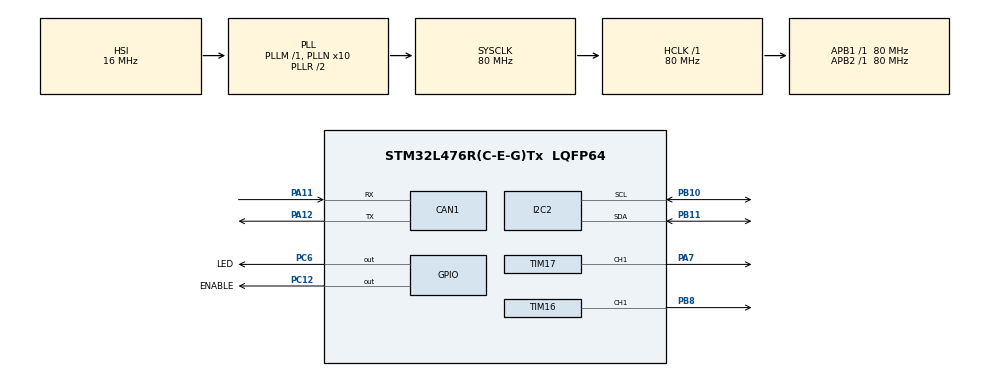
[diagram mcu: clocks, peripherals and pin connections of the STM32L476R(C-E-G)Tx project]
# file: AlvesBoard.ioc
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CAN1.BS1=CAN_BS1_4TQ
CAN1.CalculateTimeQuantum=200.0
Mcu.Family=STM32L4
Mcu.Name=STM32L476R(C-E-G)Tx
Mcu.Package=LQFP64
NVIC.PriorityGroup=NVIC_PRIORITYGROUP_4
NVIC.TIM2_IRQn=true\:0\:0\:false\:false\:true\:true\:true
PA11.Mode=Master
PA11.Signal=CAN1_RX
PA12.Mode=Master
PA12.Signal=CAN1_TX
PA13\ (JTMS-SWDIO).Mode=JTAG_5_pins
PA13\ (JTMS-SWDIO).Signal=SYS_JTMS-SWDIO
PA14\ (JTCK-SWCLK).Mode=JTAG_5_pins
PA14\ (JTCK-SWCLK).Signal=SYS_JTCK-SWCLK
PA15\ (JTDI).Mode=JTAG_5_pins
PA15\ (JTDI).Signal=SYS_JTDI
PA7.Signal=S_TIM17_CH1
PB10.Mode=I2C
PB10.Signal=I2C2_SCL
PB11.Mode=I2C
PB11.Signal=I2C2_SDA
PB3\ (JTDO-TRACESWO).Mode=JTAG_5_pins
PB3\ (JTDO-TRACESWO).Signal=SYS_JTDO-SWO
PB4\ (NJTRST).Mode=JTAG_5_pins
PB4\ (NJTRST).Signal=SYS_JTRST
PB8.Signal=S_TIM16_CH1
PC12.GPIO_Label=ENABLE
PC12.Signal=GPIO_Output
PC14-OSC32_IN\ (PC14).Mode=LSE-External-Oscillator
PC14-OSC32_IN\ (PC14).Signal=RCC_OSC32_IN
PC15-OSC32_OUT\ (PC15).Mode=LSE-External-Oscillator
PC15-OSC32_OUT\ (PC15).Signal=RCC_OSC32_OUT
PC6.GPIO_Label=LED
PC6.Signal=GPIO_Output
ProjectManager.HeapSize=0x200
ProjectManager.StackSize=0x400
ProjectManager.TargetToolchain=STM32CubeIDE
RCC.ADCFreq_Value=64000000
RCC.AHBFreq_Value=80000000
RCC.APB1Freq_Value=80000000
RCC.APB1TimFreq_Value=80000000
RCC.APB2Freq_Value=80000000
RCC.APB2TimFreq_Value=80000000
RCC.CortexFreq_Value=80000000
RCC.HCLKFreq_Value=80000000
RCC.HSE_VALUE=8000000
RCC.HSI_VALUE=16000000
RCC.MSI_VALUE=4000000
RCC.PLLN=10
RCC.PLLSourceVirtual=RCC_PLLSOURCE_HSI
RCC.SYSCLKFreq_VALUE=80000000
RCC.SYSCLKSource=RCC_SYSCLKSOURCE_PLLCLK
RCC.USBFreq_Value=64000000
RCC.VCOOutputFreq_Value=160000000
SH.S_TIM16_CH1.0=TIM16_CH1,PWM Generation1 CH1
SH.S_TIM17_CH1.0=TIM17_CH1,PWM Generation1 CH1
TIM16.Channel=TIM_CHANNEL_1
TIM16.Period=1000
TIM16.Prescaler=40
TIM17.Channel=TIM_CHANNEL_1
TIM17.Period=1000
TIM17.Prescaler=40
TIM2.Period=80
TIM2.Prescaler=40000
VP_TIM16_VS_ClockSourceINT.Mode=Enable_Timer
VP_TIM17_VS_ClockSourceINT.Mode=Enable_Timer
VP_TIM2_VS_ClockSourceINT.Mode=Internal
board=custom

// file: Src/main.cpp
/* USER CODE BEGIN Header */
/**
  ******************************************************************************
  * @file           : main.c
  * @brief          : Main program body
  ******************************************************************************
  * @attention
  *
  * <h2><center>&copy; Copyright (c) 2019 STMicroelectronics.
  * All rights reserved.</center></h2>
  *
  * This software component is licensed by ST under BSD 3-Clause license,
  * the "License"; You may not use this file except in compliance with the
  * License. You may obtain a copy of the License at:
  *                        opensource.org/licenses/BSD-3-Clause
  *
  ******************************************************************************
  */
/* USER CODE END Header */

#include "main.h"

/* USER CODE BEGIN Includes */
#include "Adafruit_BNO055.h"
#include "zenith_can_lib.h"
#include <stdio.h>
/* USER CODE END Includes */

CAN_HandleTypeDef hcan1;

I2C_HandleTypeDef hi2c2;

TIM_HandleTypeDef htim2;
TIM_HandleTypeDef htim16;
TIM_HandleTypeDef htim17;

/* USER CODE BEGIN PV */
Z_CAN_Package can_rx_pkg;
Z_CAN_Package can_tx_pkg;

typedef union _converter4{
	float convert_float;
	uint32_t convert_int;
} Converter4;

Converter4 c;

//VARIAVEIS DE CONTROLE
int estado = 0;

float q0, q1, q2, qx, qy;

float q0_vel = 1.265; //q0_vel = 1.493; // Primeira lenta, segunda rápida. Lembrar de atualizar q1 e q2 se for mudar
float q1_vel = 1.265*(-1.908), q2_vel = 1.265*0.9105;
float qx_vel = -1.872, qy_vel = 0.872;

float q0_pos = 1.741, q1_pos = -1.713, q2_pos = 0;
float qx_pos = -0.949, qy_pos = 0;

float e, e0, e00;
float u, u0, u00;

float Vcc;
float dutyCicle;
float saidaDesejada, saidaAtual;

float T0 = 0.04;
float dir;
float T0_PWM = 1000;

float pos_IMU, pos_IMU_Anterior;
float vel_IMU;

int init_flag = 1;
//CONFIGURACOES DO TIMER PWM
TIM_OC_InitTypeDef configPWM_17 = {0};
TIM_OC_InitTypeDef configPWM_16 = {0};

/* USER CODE END PV */

void SystemClock_Config(void);
static void MX_GPIO_Init(void);
static void MX_CAN1_Init(void);
static void MX_I2C2_Init(void);
static void MX_TIM2_Init(void);
static void MX_TIM16_Init(void);
static void MX_TIM17_Init(void);
/* USER CODE BEGIN PFP */
void HAL_TIM_PeriodElapsedCallback(TIM_HandleTypeDef *htim);
/* USER CODE END PFP */

int main(void)
{

  /* MCU Configuration--------------------------------------------------------*/

  /* Reset of all peripherals, Initializes the Flash interface and the Systick. */
  HAL_Init();

  /* Configure the system clock */
  SystemClock_Config();

  /* Initialize all configured peripherals */
  MX_GPIO_Init();
  MX_CAN1_Init();
  MX_I2C2_Init();
  MX_TIM2_Init();
  MX_TIM16_Init();
  MX_TIM17_Init();
  /* USER CODE BEGIN 2 */
  // Inicialização padrão dos PWMs; para funcionar, falta os starts.
  HAL_TIM_PWM_Init(&htim16);
  HAL_TIM_PWM_Init(&htim17);

  // Inicialização dos timers
  HAL_TIM_Base_Start_IT(&htim2);

  // Configuracao inicial dos timer
  configPWM_16.OCMode = TIM_OCMODE_PWM1;
  configPWM_16.Pulse = 0; // Largura do pulso
  configPWM_16.OCPolarity = TIM_OCPOLARITY_HIGH;
  configPWM_16.OCNPolarity = TIM_OCNPOLARITY_HIGH;
  configPWM_16.OCFastMode = TIM_OCFAST_DISABLE;
  configPWM_16.OCIdleState = TIM_OCIDLESTATE_RESET;
  configPWM_16.OCNIdleState = TIM_OCNIDLESTATE_RESET;

  configPWM_17.OCMode = TIM_OCMODE_PWM1;
  configPWM_17.Pulse = 0; // Largura do pulso
  configPWM_17.OCPolarity = TIM_OCPOLARITY_HIGH;
  configPWM_17.OCNPolarity = TIM_OCNPOLARITY_HIGH;
  configPWM_17.OCFastMode = TIM_OCFAST_DISABLE;
  configPWM_17.OCIdleState = TIM_OCIDLESTATE_RESET;
  configPWM_17.OCNIdleState = TIM_OCNIDLESTATE_RESET;

/*
  double xPos = 0, yPos = 0, headingVel = 0;
  uint16_t BNO055_SAMPLERATE_DELAY_MS = 10; //how often to read data from the board
  uint16_t PRINT_DELAY_MS = 500; // how often to print the data
  uint16_t printCount = 0; //counter to avoid printing every 10MS sample
  double ACCEL_VEL_TRANSITION =  (double)(BNO055_SAMPLERATE_DELAY_MS) / 1000.0;
  double ACCEL_POS_TRANSITION = 0.5 * ACCEL_VEL_TRANSITION * ACCEL_VEL_TRANSITION;
  double DEG_2_RAD = 0.01745329251; //trig functions require radians, BNO055 outputs degrees

  Adafruit_BNO055 bno = Adafruit_BNO055(hi2c2, 55, BNO055_ADDRESS_A);

  bno.begin();
*/
  // Initializing CAN Filter
  filterConfigCAN(&hcan1);
  HAL_CAN_Start(&hcan1);

  //Delay para configurar IMU
  HAL_Delay(5000);

  //Forca dados iniciais para pos_IMU e Vcc
  can_rx_pkg.identifier = 0;
  while(can_rx_pkg.identifier != 2){
	  can_rx_pkg = readCanMessages(&hcan1);
  }

  memcpy(&pos_IMU, can_rx_pkg.data, sizeof(float));
  memcpy(&Vcc, can_rx_pkg.data + sizeof(float), sizeof(float));

  /* USER CODE END 2 */

  /* Infinite loop */
  while (1)
  {

    /* USER CODE BEGIN 3 */

	//Leitura CAN
	can_rx_pkg = readCanMessages(&hcan1);

	if(isEqual(can_rx_pkg, NULL_MSG)){				//Invalid Message
	}
	else if(can_rx_pkg.identifier == 1){

	}
	else if(can_rx_pkg.identifier == 2){
		memcpy(&pos_IMU, can_rx_pkg.data, sizeof(float));
		memcpy(&Vcc, can_rx_pkg.data + sizeof(float), sizeof(float));
	}

	//Para motores
	if(estado == 0) {
		// Stop nos dois PWMs; motor em repouso
		HAL_TIM_PWM_Stop(&htim16,TIM_CHANNEL_1);
		HAL_TIM_PWM_Stop(&htim17,TIM_CHANNEL_1);

		init_flag = 1;
	}

	/*
	  sensors_event_t orientationData , linearAccelData;
	  bno.getEvent(&orientationData, Adafruit_BNO055::VECTOR_EULER);
	  //  bno.getEvent(&angVelData, Adafruit_BNO055::VECTOR_GYROSCOPE);
	  bno.getEvent(&linearAccelData, Adafruit_BNO055::VECTOR_LINEARACCEL);

	  xPos = xPos + ACCEL_POS_TRANSITION * linearAccelData.acceleration.x;
	  yPos = yPos + ACCEL_POS_TRANSITION * linearAccelData.acceleration.y;

	  // velocity of sensor in the direction it's facing
	  headingVel = ACCEL_VEL_TRANSITION * linearAccelData.acceleration.x / cos(DEG_2_RAD * orientationData.orientation.x);
	  HAL_Delay(10);
*/
	  // send CAN message
	  /*
	  c.convert_float = orientationData.orientation.x;
	  can_tx_pkg.data[0] = c.convert_int;
	  c.convert_float = orientationData.orientation.y;
	  can_tx_pkg.data[1] = c.convert_int;
	  c.convert_float = orientationData.orientation.z;
	  can_tx_pkg.data[2] = c.convert_int;
	  c.convert_float = linearAccelData.acceleration.x;
	  can_tx_pkg.data[3] = c.convert_int;
	  c.convert_float = linearAccelData.acceleration.y;
	  can_tx_pkg.data[4] = c.convert_int;
	  c.convert_float = linearAccelData.acceleration.z;
	  can_tx_pkg.data[5] = c.convert_int;
	  can_tx_pkg.data[6] = 0;
	  can_tx_pkg.data[7] = 0;
	  can_tx_pkg.identifier = 0;

	  sendCanMessage(&hcan1, can_tx_pkg);
	  */
  }
  /* USER CODE END 3 */
}

void SystemClock_Config(void)
{
  RCC_OscInitTypeDef RCC_OscInitStruct = {0};
  RCC_ClkInitTypeDef RCC_ClkInitStruct = {0};
  RCC_PeriphCLKInitTypeDef PeriphClkInit = {0};

  /** Initializes the CPU, AHB and APB busses clocks
  */
  RCC_OscInitStruct.OscillatorType = RCC_OSCILLATORTYPE_HSI;
  RCC_OscInitStruct.HSIState = RCC_HSI_ON;
  RCC_OscInitStruct.HSICalibrationValue = RCC_HSICALIBRATION_DEFAULT;
  RCC_OscInitStruct.PLL.PLLState = RCC_PLL_ON;
  RCC_OscInitStruct.PLL.PLLSource = RCC_PLLSOURCE_HSI;
  RCC_OscInitStruct.PLL.PLLM = 1;
  RCC_OscInitStruct.PLL.PLLN = 10;
  RCC_OscInitStruct.PLL.PLLP = RCC_PLLP_DIV7;
  RCC_OscInitStruct.PLL.PLLQ = RCC_PLLQ_DIV2;
  RCC_OscInitStruct.PLL.PLLR = RCC_PLLR_DIV2;
  if (HAL_RCC_OscConfig(&RCC_OscInitStruct) != HAL_OK)
  {
    Error_Handler();
  }
  /** Initializes the CPU, AHB and APB busses clocks
  */
  RCC_ClkInitStruct.ClockType = RCC_CLOCKTYPE_HCLK|RCC_CLOCKTYPE_SYSCLK
                              |RCC_CLOCKTYPE_PCLK1|RCC_CLOCKTYPE_PCLK2;
  RCC_ClkInitStruct.SYSCLKSource = RCC_SYSCLKSOURCE_PLLCLK;
  RCC_ClkInitStruct.AHBCLKDivider = RCC_SYSCLK_DIV1;
  RCC_ClkInitStruct.APB1CLKDivider = RCC_HCLK_DIV1;
  RCC_ClkInitStruct.APB2CLKDivider = RCC_HCLK_DIV1;

  if (HAL_RCC_ClockConfig(&RCC_ClkInitStruct, FLASH_LATENCY_4) != HAL_OK)
  {
    Error_Handler();
  }
  PeriphClkInit.PeriphClockSelection = RCC_PERIPHCLK_I2C2;
  PeriphClkInit.I2c2ClockSelection = RCC_I2C2CLKSOURCE_PCLK1;
  if (HAL_RCCEx_PeriphCLKConfig(&PeriphClkInit) != HAL_OK)
  {
    Error_Handler();
  }
  /** Configure the main internal regulator output voltage
  */
  if (HAL_PWREx_ControlVoltageScaling(PWR_REGULATOR_VOLTAGE_SCALE1) != HAL_OK)
  {
    Error_Handler();
  }
}

static void MX_CAN1_Init(void)
{

  hcan1.Instance = CAN1;
  hcan1.Init.Prescaler = 16;
  hcan1.Init.Mode = CAN_MODE_NORMAL;
  hcan1.Init.SyncJumpWidth = CAN_SJW_1TQ;
  hcan1.Init.TimeSeg1 = CAN_BS1_4TQ;
  hcan1.Init.TimeSeg2 = CAN_BS2_1TQ;
  hcan1.Init.TimeTriggeredMode = DISABLE;
  hcan1.Init.AutoBusOff = DISABLE;
  hcan1.Init.AutoWakeUp = DISABLE;
  hcan1.Init.AutoRetransmission = DISABLE;
  hcan1.Init.ReceiveFifoLocked = DISABLE;
  hcan1.Init.TransmitFifoPriority = DISABLE;
  if (HAL_CAN_Init(&hcan1) != HAL_OK)
  {
    Error_Handler();
  }

}

static void MX_I2C2_Init(void)
{

  hi2c2.Instance = I2C2;
  hi2c2.Init.Timing = 0x10909CEC;
  hi2c2.Init.OwnAddress1 = 0;
  hi2c2.Init.AddressingMode = I2C_ADDRESSINGMODE_7BIT;
  hi2c2.Init.DualAddressMode = I2C_DUALADDRESS_DISABLE;
  hi2c2.Init.OwnAddress2 = 0;
  hi2c2.Init.OwnAddress2Masks = I2C_OA2_NOMASK;
  hi2c2.Init.GeneralCallMode = I2C_GENERALCALL_DISABLE;
  hi2c2.Init.NoStretchMode = I2C_NOSTRETCH_DISABLE;
  if (HAL_I2C_Init(&hi2c2) != HAL_OK)
  {
    Error_Handler();
  }
  /** Configure Analogue filter
  */
  if (HAL_I2CEx_ConfigAnalogFilter(&hi2c2, I2C_ANALOGFILTER_ENABLE) != HAL_OK)
  {
    Error_Handler();
  }
  /** Configure Digital filter
  */
  if (HAL_I2CEx_ConfigDigitalFilter(&hi2c2, 0) != HAL_OK)
  {
    Error_Handler();
  }

}

static void MX_TIM2_Init(void)
{

  TIM_ClockConfigTypeDef sClockSourceConfig = {0};
  TIM_MasterConfigTypeDef sMasterConfig = {0};

  htim2.Instance = TIM2;
  htim2.Init.Prescaler = 40000;
  htim2.Init.CounterMode = TIM_COUNTERMODE_UP;
  htim2.Init.Period = 80;
  htim2.Init.ClockDivision = TIM_CLOCKDIVISION_DIV1;
  htim2.Init.AutoReloadPreload = TIM_AUTORELOAD_PRELOAD_DISABLE;
  if (HAL_TIM_Base_Init(&htim2) != HAL_OK)
  {
    Error_Handler();
  }
  sClockSourceConfig.ClockSource = TIM_CLOCKSOURCE_INTERNAL;
  if (HAL_TIM_ConfigClockSource(&htim2, &sClockSourceConfig) != HAL_OK)
  {
    Error_Handler();
  }
  sMasterConfig.MasterOutputTrigger = TIM_TRGO_RESET;
  sMasterConfig.MasterSlaveMode = TIM_MASTERSLAVEMODE_DISABLE;
  if (HAL_TIMEx_MasterConfigSynchronization(&htim2, &sMasterConfig) != HAL_OK)
  {
    Error_Handler();
  }

}

static void MX_TIM16_Init(void)
{

  TIM_OC_InitTypeDef sConfigOC = {0};
  TIM_BreakDeadTimeConfigTypeDef sBreakDeadTimeConfig = {0};

  htim16.Instance = TIM16;
  htim16.Init.Prescaler = 40;
  htim16.Init.CounterMode = TIM_COUNTERMODE_UP;
  htim16.Init.Period = 1000;
  htim16.Init.ClockDivision = TIM_CLOCKDIVISION_DIV1;
  htim16.Init.RepetitionCounter = 0;
  htim16.Init.AutoReloadPreload = TIM_AUTORELOAD_PRELOAD_DISABLE;
  if (HAL_TIM_Base_Init(&htim16) != HAL_OK)
  {
    Error_Handler();
  }
  if (HAL_TIM_PWM_Init(&htim16) != HAL_OK)
  {
    Error_Handler();
  }
  sConfigOC.OCMode = TIM_OCMODE_PWM1;
  sConfigOC.Pulse = 0;
  sConfigOC.OCPolarity = TIM_OCPOLARITY_HIGH;
  sConfigOC.OCNPolarity = TIM_OCNPOLARITY_HIGH;
  sConfigOC.OCFastMode = TIM_OCFAST_DISABLE;
  sConfigOC.OCIdleState = TIM_OCIDLESTATE_RESET;
  sConfigOC.OCNIdleState = TIM_OCNIDLESTATE_RESET;
  if (HAL_TIM_PWM_ConfigChannel(&htim16, &sConfigOC, TIM_CHANNEL_1) != HAL_OK)
  {
    Error_Handler();
  }
  sBreakDeadTimeConfig.OffStateRunMode = TIM_OSSR_DISABLE;
  sBreakDeadTimeConfig.OffStateIDLEMode = TIM_OSSI_DISABLE;
  sBreakDeadTimeConfig.LockLevel = TIM_LOCKLEVEL_OFF;
  sBreakDeadTimeConfig.DeadTime = 0;
  sBreakDeadTimeConfig.BreakState = TIM_BREAK_DISABLE;
  sBreakDeadTimeConfig.BreakPolarity = TIM_BREAKPOLARITY_HIGH;
  sBreakDeadTimeConfig.AutomaticOutput = TIM_AUTOMATICOUTPUT_DISABLE;
  if (HAL_TIMEx_ConfigBreakDeadTime(&htim16, &sBreakDeadTimeConfig) != HAL_OK)
  {
    Error_Handler();
  }
  HAL_TIM_MspPostInit(&htim16);

}

static void MX_TIM17_Init(void)
{

  TIM_OC_InitTypeDef sConfigOC = {0};
  TIM_BreakDeadTimeConfigTypeDef sBreakDeadTimeConfig = {0};

  htim17.Instance = TIM17;
  htim17.Init.Prescaler = 40;
  htim17.Init.CounterMode = TIM_COUNTERMODE_UP;
  htim17.Init.Period = 1000;
  htim17.Init.ClockDivision = TIM_CLOCKDIVISION_DIV1;
  htim17.Init.RepetitionCounter = 0;
  htim17.Init.AutoReloadPreload = TIM_AUTORELOAD_PRELOAD_DISABLE;
  if (HAL_TIM_Base_Init(&htim17) != HAL_OK)
  {
    Error_Handler();
  }
  if (HAL_TIM_PWM_Init(&htim17) != HAL_OK)
  {
    Error_Handler();
  }
  sConfigOC.OCMode = TIM_OCMODE_PWM1;
  sConfigOC.Pulse = 0;
  sConfigOC.OCPolarity = TIM_OCPOLARITY_HIGH;
  sConfigOC.OCNPolarity = TIM_OCNPOLARITY_HIGH;
  sConfigOC.OCFastMode = TIM_OCFAST_DISABLE;
  sConfigOC.OCIdleState = TIM_OCIDLESTATE_RESET;
  sConfigOC.OCNIdleState = TIM_OCNIDLESTATE_RESET;
  if (HAL_TIM_PWM_ConfigChannel(&htim17, &sConfigOC, TIM_CHANNEL_1) != HAL_OK)
  {
    Error_Handler();
  }
  sBreakDeadTimeConfig.OffStateRunMode = TIM_OSSR_DISABLE;
  sBreakDeadTimeConfig.OffStateIDLEMode = TIM_OSSI_DISABLE;
  sBreakDeadTimeConfig.LockLevel = TIM_LOCKLEVEL_OFF;
  sBreakDeadTimeConfig.DeadTime = 0;
  sBreakDeadTimeConfig.BreakState = TIM_BREAK_DISABLE;
  sBreakDeadTimeConfig.BreakPolarity = TIM_BREAKPOLARITY_HIGH;
  sBreakDeadTimeConfig.AutomaticOutput = TIM_AUTOMATICOUTPUT_DISABLE;
  if (HAL_TIMEx_ConfigBreakDeadTime(&htim17, &sBreakDeadTimeConfig) != HAL_OK)
  {
    Error_Handler();
  }
  HAL_TIM_MspPostInit(&htim17);

}

static void MX_GPIO_Init(void)
{
  GPIO_InitTypeDef GPIO_InitStruct = {0};

  /* GPIO Ports Clock Enable */
  __HAL_RCC_GPIOC_CLK_ENABLE();
  __HAL_RCC_GPIOA_CLK_ENABLE();
  __HAL_RCC_GPIOB_CLK_ENABLE();

  /*Configure GPIO pin Output Level */
  HAL_GPIO_WritePin(GPIOC, LED_Pin|ENABLE_Pin, GPIO_PIN_RESET);

  /*Configure GPIO pins : LED_Pin ENABLE_Pin */
  GPIO_InitStruct.Pin = LED_Pin|ENABLE_Pin;
  GPIO_InitStruct.Mode = GPIO_MODE_OUTPUT_PP;
  GPIO_InitStruct.Pull = GPIO_NOPULL;
  GPIO_InitStruct.Speed = GPIO_SPEED_FREQ_LOW;
  HAL_GPIO_Init(GPIOC, &GPIO_InitStruct);

}

/* USER CODE BEGIN 4 */
void HAL_TIM_PeriodElapsedCallback(TIM_HandleTypeDef *htim) {
	TIM_OC_InitTypeDef configPWM_16 = {0};
	TIM_OC_InitTypeDef configPWM_17 = {0};

	configPWM_16.OCMode = TIM_OCMODE_PWM1;
	configPWM_16.Pulse = 0; // Largura do pulso
	configPWM_16.OCPolarity = TIM_OCPOLARITY_HIGH;
	configPWM_16.OCNPolarity = TIM_OCNPOLARITY_HIGH;
	configPWM_16.OCFastMode = TIM_OCFAST_DISABLE;
	configPWM_16.OCIdleState = TIM_OCIDLESTATE_RESET;
	configPWM_16.OCNIdleState = TIM_OCNIDLESTATE_RESET;

	configPWM_17.OCMode = TIM_OCMODE_PWM1;
	configPWM_17.Pulse = 0; // Largura do pulso
	configPWM_17.OCPolarity = TIM_OCPOLARITY_HIGH;
	configPWM_17.OCNPolarity = TIM_OCNPOLARITY_HIGH;
	configPWM_17.OCFastMode = TIM_OCFAST_DISABLE;
	configPWM_17.OCIdleState = TIM_OCIDLESTATE_RESET;
	configPWM_17.OCNIdleState = TIM_OCNIDLESTATE_RESET;

	if(htim->Instance == TIM2) { // Subrotina de interrupção do timer 2
		// Atualizar ação de controle: lembrar de girar para o sentido oposto

		//Maquina de estados
		if(estado == 0) {
			// Stop nos dois PWMs; motor em repouso
			HAL_TIM_PWM_Stop(&htim16,TIM_CHANNEL_1);
			HAL_TIM_PWM_Stop(&htim17,TIM_CHANNEL_1);

			init_flag = 1;
		}
		if(estado == 1) {
			q0 = q0_vel;
			q1 = q1_vel;
			q2 = q2_vel;
			qx = qx_vel;
			qy = qy_vel;
			saidaDesejada = 0;

			// Atualizacao saida e tratamento inicializacao
			if(init_flag == 1){
				pos_IMU_Anterior = pos_IMU;

				u0 = 0; u00 = 0;
				e0 = 0; e00 = 0;

				init_flag = 0;
			}
			else{
				vel_IMU = (pos_IMU - pos_IMU_Anterior)/T0;
				if(abs(vel_IMU) > 800){
					vel_IMU = ((360-pos_IMU_Anterior) + pos_IMU)/T0;
					pos_IMU_Anterior = pos_IMU;
					return;
				}

				if(vel_IMU > 0){
					dir = 0;
				}
				else{
					dir = 0;
				}
				saidaAtual = vel_IMU;
				pos_IMU_Anterior = pos_IMU;
			}

		}

		if(estado == 2) {
			if(init_flag == 1){
				u0 = 0; u00 = 0;
				e0 = 0; e00 = 0;

				init_flag = 0;
			}

			q0 = q0_pos;
			q1 = q1_pos;
			q2 = 0;
			qx = qx_pos;
			qy = 0;

			saidaAtual = pos_IMU;
			//TODO
			saidaDesejada = 0;//posIni_IMU +;
		}

		if(estado != 0) {
			e = saidaDesejada - saidaAtual;
			u = q0*e+q1*e0+q2*e00 -qx*u0 -qy*u00;

			if(u > Vcc) {
				u = Vcc;
			}

			if(u < -Vcc) {
				u = -Vcc;
			}

			// Atualizar dutycicle
			dutyCicle += 0.01;
			if()
			//dutyCicle = u/Vcc;

			// Atualizar variáveis de memória
			e00 = e0;
			e0 = e;
			u00 = u0;
			u0 = u;

		}

		if(dutyCicle != 0) {
			//dir = 0;
			if(dir == 0) {

				configPWM_16.Pulse = dutyCicle*T0_PWM;
				configPWM_17.Pulse = 0;
				HAL_TIM_PWM_ConfigChannel(&htim16, &configPWM_16, TIM_CHANNEL_1);
				HAL_TIM_PWM_Start(&htim16,TIM_CHANNEL_1);

				HAL_TIM_PWM_Stop(&htim17,TIM_CHANNEL_1);

			}

			if(dir == 1) {

				configPWM_17.Pulse = dutyCicle*T0_PWM;
				configPWM_16.Pulse = 0;
				HAL_TIM_PWM_ConfigChannel(&htim17, &configPWM_17, TIM_CHANNEL_1);
				HAL_TIM_PWM_Start(&htim17,TIM_CHANNEL_1);

				HAL_TIM_PWM_Stop(&htim16,TIM_CHANNEL_1);

			}

		}
	}

}
/* USER CODE END 4 */

void Error_Handler(void)
{
}

/************************ (C) COPYRIGHT STMicroelectronics *****END OF FILE****/
